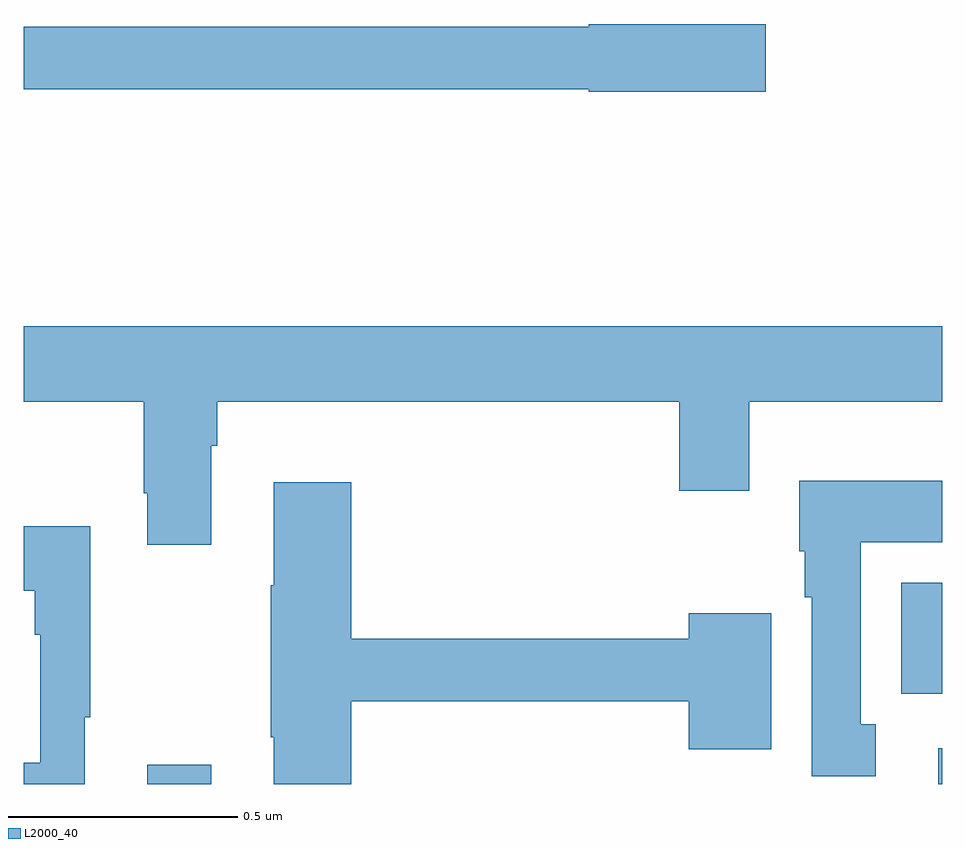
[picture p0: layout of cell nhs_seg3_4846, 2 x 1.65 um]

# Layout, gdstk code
import gdstk
lib = gdstk.Library(unit=1e-6, precision=1e-09)
def R(c, l, rs):  # rectangles x0, y0, x1, y1
    for r in rs: c.add(gdstk.rectangle(r[:2], r[2:], *l))
def P(c, l, *ps):  # polygons
    for p in ps: c.add(gdstk.Polygon(p, *l))
L2000_40 = (2000, 40)

nhs_seg3_4846 = lib.new_cell('nhs_seg3_4846')
R(nhs_seg3_4846, L2000_40, [(171.269,717.4,171.409,717.442), (172.991,717.4,173,717.478), (172.91,717.596,173,717.838)])
P(nhs_seg3_4846, L2000_40, [(172.615,719.054),(172.23,719.054),(172.23,719.048),(171,719.048),(171,718.912),(172.23,718.912),(172.23,718.907),(172.615,718.907)],
  [(171.409,718.136),(171.422,718.136),(171.422,718.232),(172.427,718.232),(172.427,718.038),(172.579,718.038),(172.579,718.232),(173,718.232),(173,718.396),(171,718.396),(171,718.232),(171.262,718.232),(171.262,718.033),(171.269,718.033),(171.269,717.921),(171.409,717.921)],
  [(172.855,717.53),(172.822,717.53),(172.822,717.926),(173,717.926),(173,718.06),(172.688,718.06),(172.688,717.906),(172.7,717.906),(172.7,717.806),(172.715,717.806),(172.715,717.417),(172.855,717.417)],
  [(171.713,717.58),(172.448,717.58),(172.448,717.476),(172.627,717.476),(172.627,717.772),(172.448,717.772),(172.448,717.716),(171.713,717.716),(171.713,718.057),(171.545,718.057),(171.545,717.833),(171.538,717.833),(171.538,717.502),(171.545,717.502),(171.545,717.4),(171.713,717.4)],
  [(171.133,717.545),(171.145,717.545),(171.145,717.961),(171,717.961),(171,717.821),(171.024,717.821),(171.024,717.725),(171.036,717.725),(171.036,717.446),(171,717.446),(171,717.4),(171.133,717.4)])

lib.write_gds('nhs_seg3_4846.gds')
